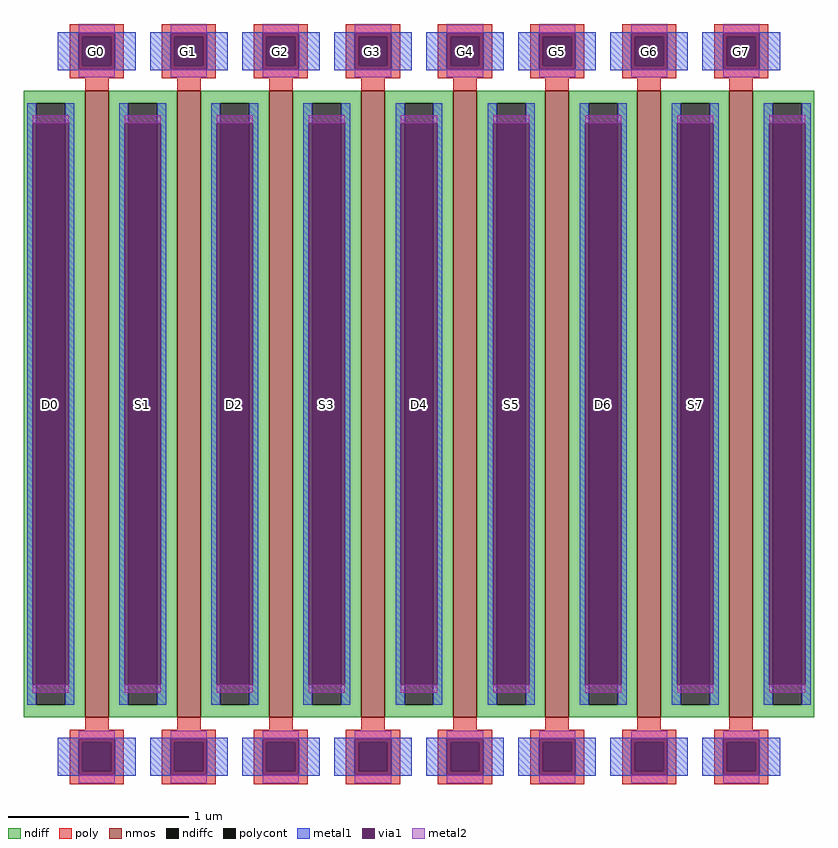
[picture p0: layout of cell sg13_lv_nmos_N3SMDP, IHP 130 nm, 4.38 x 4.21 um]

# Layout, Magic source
magic
tech ihp-sg13cmos5l
magscale 1 2
<< nmos >>
rect -370 -347 -344 347
rect -268 -347 -242 347
rect -166 -347 -140 347
rect -64 -347 -38 347
rect 38 -347 64 347
rect 140 -347 166 347
rect 242 -347 268 347
rect 344 -347 370 347
<< ndiff >>
rect -438 333 -370 347
rect -438 -333 -424 333
rect -392 -333 -370 333
rect -438 -347 -370 -333
rect -344 333 -268 347
rect -344 -333 -322 333
rect -290 -333 -268 333
rect -344 -347 -268 -333
rect -242 333 -166 347
rect -242 -333 -220 333
rect -188 -333 -166 333
rect -242 -347 -166 -333
rect -140 333 -64 347
rect -140 -333 -118 333
rect -86 -333 -64 333
rect -140 -347 -64 -333
rect -38 333 38 347
rect -38 -333 -16 333
rect 16 -333 38 333
rect -38 -347 38 -333
rect 64 333 140 347
rect 64 -333 86 333
rect 118 -333 140 333
rect 64 -347 140 -333
rect 166 333 242 347
rect 166 -333 188 333
rect 220 -333 242 333
rect 166 -347 242 -333
rect 268 333 344 347
rect 268 -333 290 333
rect 322 -333 344 333
rect 268 -347 344 -333
rect 370 333 438 347
rect 370 -333 392 333
rect 424 -333 438 333
rect 370 -347 438 -333
<< ndiffc >>
rect -424 -333 -392 333
rect -322 -333 -290 333
rect -220 -333 -188 333
rect -118 -333 -86 333
rect -16 -333 16 333
rect 86 -333 118 333
rect 188 -333 220 333
rect 290 -333 322 333
rect 392 -333 424 333
<< poly >>
rect -387 407 -327 421
rect -387 375 -373 407
rect -341 375 -327 407
rect -387 361 -327 375
rect -285 407 -225 421
rect -285 375 -271 407
rect -239 375 -225 407
rect -285 361 -225 375
rect -183 407 -123 421
rect -183 375 -169 407
rect -137 375 -123 407
rect -183 361 -123 375
rect -81 407 -21 421
rect -81 375 -67 407
rect -35 375 -21 407
rect -81 361 -21 375
rect 21 407 81 421
rect 21 375 35 407
rect 67 375 81 407
rect 21 361 81 375
rect 123 407 183 421
rect 123 375 137 407
rect 169 375 183 407
rect 123 361 183 375
rect 225 407 285 421
rect 225 375 239 407
rect 271 375 285 407
rect 225 361 285 375
rect 327 407 387 421
rect 327 375 341 407
rect 373 375 387 407
rect 327 361 387 375
rect -370 347 -344 361
rect -268 347 -242 361
rect -166 347 -140 361
rect -64 347 -38 361
rect 38 347 64 361
rect 140 347 166 361
rect 242 347 268 361
rect 344 347 370 361
rect -370 -361 -344 -347
rect -268 -361 -242 -347
rect -166 -361 -140 -347
rect -64 -361 -38 -347
rect 38 -361 64 -347
rect 140 -361 166 -347
rect 242 -361 268 -347
rect 344 -361 370 -347
rect -387 -375 -327 -361
rect -387 -407 -373 -375
rect -341 -407 -327 -375
rect -387 -421 -327 -407
rect -285 -375 -225 -361
rect -285 -407 -271 -375
rect -239 -407 -225 -375
rect -285 -421 -225 -407
rect -183 -375 -123 -361
rect -183 -407 -169 -375
rect -137 -407 -123 -375
rect -183 -421 -123 -407
rect -81 -375 -21 -361
rect -81 -407 -67 -375
rect -35 -407 -21 -375
rect -81 -421 -21 -407
rect 21 -375 81 -361
rect 21 -407 35 -375
rect 67 -407 81 -375
rect 21 -421 81 -407
rect 123 -375 183 -361
rect 123 -407 137 -375
rect 169 -407 183 -375
rect 123 -421 183 -407
rect 225 -375 285 -361
rect 225 -407 239 -375
rect 271 -407 285 -375
rect 225 -421 285 -407
rect 327 -375 387 -361
rect 327 -407 341 -375
rect 373 -407 387 -375
rect 327 -421 387 -407
<< polycont >>
rect -373 375 -341 407
rect -271 375 -239 407
rect -169 375 -137 407
rect -67 375 -35 407
rect 35 375 67 407
rect 137 375 169 407
rect 239 375 271 407
rect 341 375 373 407
rect -373 -407 -341 -375
rect -271 -407 -239 -375
rect -169 -407 -137 -375
rect -67 -407 -35 -375
rect 35 -407 67 -375
rect 137 -407 169 -375
rect 239 -407 271 -375
rect 341 -407 373 -375
<< metal1 >>
rect -400 411 -314 412
rect -400 371 -377 411
rect -337 371 -314 411
rect -400 370 -314 371
rect -298 411 -212 412
rect -298 371 -275 411
rect -235 371 -212 411
rect -298 370 -212 371
rect -196 411 -110 412
rect -196 371 -173 411
rect -133 371 -110 411
rect -196 370 -110 371
rect -94 411 -8 412
rect -94 371 -71 411
rect -31 371 -8 411
rect -94 370 -8 371
rect 8 411 94 412
rect 8 371 31 411
rect 71 371 94 411
rect 8 370 94 371
rect 110 411 196 412
rect 110 371 133 411
rect 173 371 196 411
rect 110 370 196 371
rect 212 411 298 412
rect 212 371 235 411
rect 275 371 298 411
rect 212 370 298 371
rect 314 411 400 412
rect 314 371 337 411
rect 377 371 400 411
rect 314 370 400 371
rect -434 311 -424 333
rect -392 311 -382 333
rect -434 -311 -428 311
rect -388 -311 -382 311
rect -434 -333 -424 -311
rect -392 -333 -382 -311
rect -332 311 -322 333
rect -290 311 -280 333
rect -332 -311 -326 311
rect -286 -311 -280 311
rect -332 -333 -322 -311
rect -290 -333 -280 -311
rect -230 311 -220 333
rect -188 311 -178 333
rect -230 -311 -224 311
rect -184 -311 -178 311
rect -230 -333 -220 -311
rect -188 -333 -178 -311
rect -128 311 -118 333
rect -86 311 -76 333
rect -128 -311 -122 311
rect -82 -311 -76 311
rect -128 -333 -118 -311
rect -86 -333 -76 -311
rect -26 311 -16 333
rect 16 311 26 333
rect -26 -311 -20 311
rect 20 -311 26 311
rect -26 -333 -16 -311
rect 16 -333 26 -311
rect 76 311 86 333
rect 118 311 128 333
rect 76 -311 82 311
rect 122 -311 128 311
rect 76 -333 86 -311
rect 118 -333 128 -311
rect 178 311 188 333
rect 220 311 230 333
rect 178 -311 184 311
rect 224 -311 230 311
rect 178 -333 188 -311
rect 220 -333 230 -311
rect 280 311 290 333
rect 322 311 332 333
rect 280 -311 286 311
rect 326 -311 332 311
rect 280 -333 290 -311
rect 322 -333 332 -311
rect 382 311 392 333
rect 424 311 434 333
rect 382 -311 388 311
rect 428 -311 434 311
rect 382 -333 392 -311
rect 424 -333 434 -311
rect -400 -371 -314 -370
rect -400 -411 -377 -371
rect -337 -411 -314 -371
rect -400 -412 -314 -411
rect -298 -371 -212 -370
rect -298 -411 -275 -371
rect -235 -411 -212 -371
rect -298 -412 -212 -411
rect -196 -371 -110 -370
rect -196 -411 -173 -371
rect -133 -411 -110 -371
rect -196 -412 -110 -411
rect -94 -371 -8 -370
rect -94 -411 -71 -371
rect -31 -411 -8 -371
rect -94 -412 -8 -411
rect 8 -371 94 -370
rect 8 -411 31 -371
rect 71 -411 94 -371
rect 8 -412 94 -411
rect 110 -371 196 -370
rect 110 -411 133 -371
rect 173 -411 196 -371
rect 110 -412 196 -411
rect 212 -371 298 -370
rect 212 -411 235 -371
rect 275 -411 298 -371
rect 212 -412 298 -411
rect 314 -371 400 -370
rect 314 -411 337 -371
rect 377 -411 400 -371
rect 314 -412 400 -411
<< via1 >>
rect -377 407 -337 411
rect -377 375 -373 407
rect -373 375 -341 407
rect -341 375 -337 407
rect -377 371 -337 375
rect -275 407 -235 411
rect -275 375 -271 407
rect -271 375 -239 407
rect -239 375 -235 407
rect -275 371 -235 375
rect -173 407 -133 411
rect -173 375 -169 407
rect -169 375 -137 407
rect -137 375 -133 407
rect -173 371 -133 375
rect -71 407 -31 411
rect -71 375 -67 407
rect -67 375 -35 407
rect -35 375 -31 407
rect -71 371 -31 375
rect 31 407 71 411
rect 31 375 35 407
rect 35 375 67 407
rect 67 375 71 407
rect 31 371 71 375
rect 133 407 173 411
rect 133 375 137 407
rect 137 375 169 407
rect 169 375 173 407
rect 133 371 173 375
rect 235 407 275 411
rect 235 375 239 407
rect 239 375 271 407
rect 271 375 275 407
rect 235 371 275 375
rect 337 407 377 411
rect 337 375 341 407
rect 341 375 373 407
rect 373 375 377 407
rect 337 371 377 375
rect -428 -311 -424 311
rect -424 -311 -392 311
rect -392 -311 -388 311
rect -326 -311 -322 311
rect -322 -311 -290 311
rect -290 -311 -286 311
rect -224 -311 -220 311
rect -220 -311 -188 311
rect -188 -311 -184 311
rect -122 -311 -118 311
rect -118 -311 -86 311
rect -86 -311 -82 311
rect -20 -311 -16 311
rect -16 -311 16 311
rect 16 -311 20 311
rect 82 -311 86 311
rect 86 -311 118 311
rect 118 -311 122 311
rect 184 -311 188 311
rect 188 -311 220 311
rect 220 -311 224 311
rect 286 -311 290 311
rect 290 -311 322 311
rect 322 -311 326 311
rect 388 -311 392 311
rect 392 -311 424 311
rect 424 -311 428 311
rect -377 -375 -337 -371
rect -377 -407 -373 -375
rect -373 -407 -341 -375
rect -341 -407 -337 -375
rect -377 -411 -337 -407
rect -275 -375 -235 -371
rect -275 -407 -271 -375
rect -271 -407 -239 -375
rect -239 -407 -235 -375
rect -275 -411 -235 -407
rect -173 -375 -133 -371
rect -173 -407 -169 -375
rect -169 -407 -137 -375
rect -137 -407 -133 -375
rect -173 -411 -133 -407
rect -71 -375 -31 -371
rect -71 -407 -67 -375
rect -67 -407 -35 -375
rect -35 -407 -31 -375
rect -71 -411 -31 -407
rect 31 -375 71 -371
rect 31 -407 35 -375
rect 35 -407 67 -375
rect 67 -407 71 -375
rect 31 -411 71 -407
rect 133 -375 173 -371
rect 133 -407 137 -375
rect 137 -407 169 -375
rect 169 -407 173 -375
rect 133 -411 173 -407
rect 235 -375 275 -371
rect 235 -407 239 -375
rect 239 -407 271 -375
rect 271 -407 275 -375
rect 235 -411 275 -407
rect 337 -375 377 -371
rect 337 -407 341 -375
rect 341 -407 373 -375
rect 373 -407 377 -375
rect 337 -411 377 -407
<< metal2 >>
rect -377 411 -337 420
rect -377 362 -337 371
rect -275 411 -235 420
rect -275 362 -235 371
rect -173 411 -133 420
rect -173 362 -133 371
rect -71 411 -31 420
rect -71 362 -31 371
rect 31 411 71 420
rect 31 362 71 371
rect 133 411 173 420
rect 133 362 173 371
rect 235 411 275 420
rect 235 362 275 371
rect 337 411 377 420
rect 337 362 377 371
rect -428 311 -388 320
rect -428 -320 -388 -311
rect -326 311 -286 320
rect -326 -320 -286 -311
rect -224 311 -184 320
rect -224 -320 -184 -311
rect -122 311 -82 320
rect -122 -320 -82 -311
rect -20 311 20 320
rect -20 -320 20 -311
rect 82 311 122 320
rect 82 -320 122 -311
rect 184 311 224 320
rect 184 -320 224 -311
rect 286 311 326 320
rect 286 -320 326 -311
rect 388 311 428 320
rect 388 -320 428 -311
rect -377 -371 -337 -362
rect -377 -420 -337 -411
rect -275 -371 -235 -362
rect -275 -420 -235 -411
rect -173 -371 -133 -362
rect -173 -420 -133 -411
rect -71 -371 -31 -362
rect -71 -420 -31 -411
rect 31 -371 71 -362
rect 31 -420 71 -411
rect 133 -371 173 -362
rect 133 -420 173 -411
rect 235 -371 275 -362
rect 235 -420 275 -411
rect 337 -371 377 -362
rect 337 -420 377 -411
<< labels >>
rlabel ndiffc -408 0 -408 0 0 D0
port 17 nsew
rlabel polycont -357 391 -357 391 0 G0
port 18 nsew
rlabel ndiffc -306 0 -306 0 0 S1
port 19 nsew
rlabel polycont -255 391 -255 391 0 G1
port 20 nsew
rlabel ndiffc -204 0 -204 0 0 D2
port 21 nsew
rlabel polycont -153 391 -153 391 0 G2
port 22 nsew
rlabel ndiffc -102 0 -102 0 0 S3
port 23 nsew
rlabel polycont -51 391 -51 391 0 G3
port 24 nsew
rlabel ndiffc 0 0 0 0 0 D4
port 25 nsew
rlabel polycont 51 391 51 391 0 G4
port 26 nsew
rlabel ndiffc 102 0 102 0 0 S5
port 27 nsew
rlabel polycont 153 391 153 391 0 G5
port 28 nsew
rlabel ndiffc 204 0 204 0 0 D6
port 29 nsew
rlabel polycont 255 391 255 391 0 G6
port 30 nsew
rlabel ndiffc 306 0 306 0 0 S7
port 31 nsew
rlabel polycont 357 391 357 391 0 G7
port 32 nsew
<< properties >>
string gencell sg13_lv_nmos
string library sg13cmos5l
string parameters w 3.46625 l 0.13 m 1 ng 8 diffcov 100 polycov 100 guard 0 glc 1 grc 1 gtc 1 gbc 1 tbcov 100 rlcov 100 topc 1 botc 1 poverlap 0 doverlap 1 lmin 0.13 wmin 0.15 class mosfet compatible {sg13_lv_nmos sg13_hv_nmos} full_metal 1 conn_gates 0 gate_ring 0 doports 1 viasrc 100 viadrn 100 viagate 100 ccols 1 viagb 0 viagr 0 viagl 0 viagt 0
<< end >>
